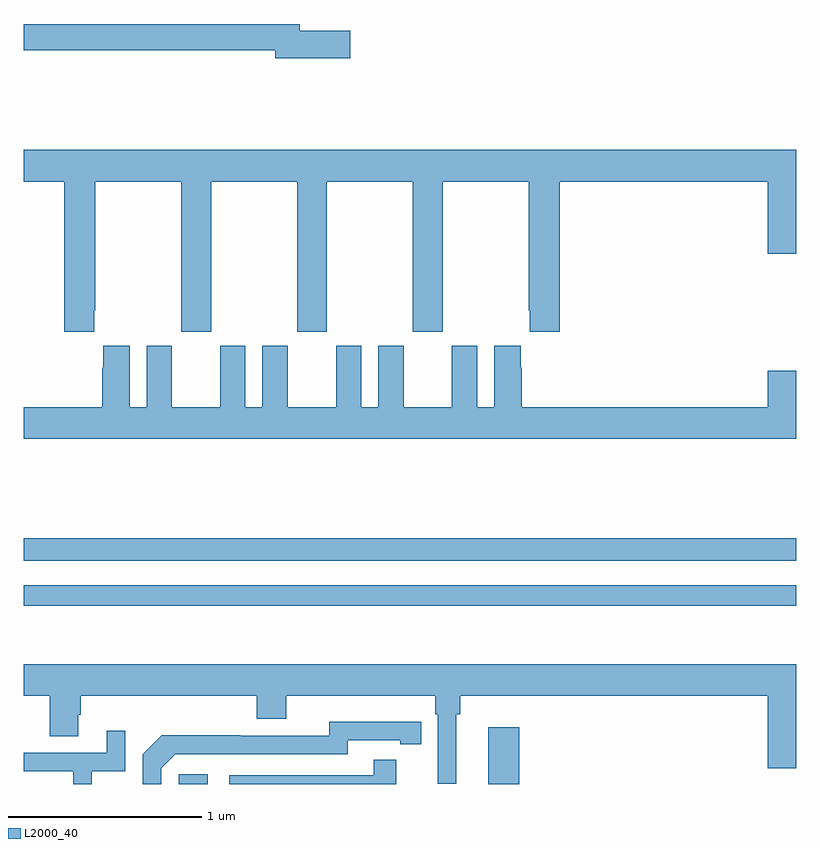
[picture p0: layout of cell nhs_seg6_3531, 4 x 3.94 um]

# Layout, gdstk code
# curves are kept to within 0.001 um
import gdstk
lib = gdstk.Library(unit=1e-6, precision=1e-09)
def R(c, l, rs):  # rectangles x0, y0, x1, y1
    for r in rs: c.add(gdstk.rectangle(r[:2], r[2:], *l))
def P(c, l, *ps):  # polygons
    for p in ps: c.add(gdstk.Polygon(p, *l))
L2000_40 = (2000, 40)

nhs_seg6_3531 = lib.new_cell('nhs_seg6_3531')
R(nhs_seg6_3531, L2000_40, [(317.802,993.5,317.953,993.55), (319.406,993.5,319.565,993.793), (317,994.422,321,994.53), (317,994.656,321,994.772)])
P(nhs_seg6_3531, L2000_40, [(318.691,997.4),(318.43,997.4),(318.43,997.436),(317,997.436),(317,997.3),(318.302,997.3),(318.302,997.258),(318.691,997.258)],
  [(317.365,995.953),(317.37,995.953),(317.37,996.62),(317.815,996.62),(317.815,995.841),(317.97,995.841),(317.97,996.62),(318.415,996.62),(318.415,995.841),(318.57,995.841),(318.57,996.62),(319.015,996.62),(319.015,995.841),(319.17,995.841),(319.17,996.62),(319.615,996.62),(319.615,995.953),(319.619,995.953),(319.619,995.841),(319.775,995.841),(319.775,996.62),(320.852,996.62),(320.852,996.246),(321,996.246),(321,996.784),(317,996.784),(317,996.62),(317.21,996.62),(317.21,995.841),(317.365,995.841)],
  [(321,995.641),(320.852,995.641),(320.852,995.452),(319.58,995.452),(319.58,995.657),(319.573,995.657),(319.573,995.77),(319.436,995.77),(319.436,995.452),(319.348,995.452),(319.348,995.77),(319.217,995.77),(319.217,995.452),(318.967,995.452),(318.967,995.77),(318.836,995.77),(318.836,995.452),(318.748,995.452),(318.748,995.77),(318.617,995.77),(318.617,995.452),(318.367,995.452),(318.367,995.77),(318.236,995.77),(318.236,995.452),(318.148,995.452),(318.148,995.77),(318.017,995.77),(318.017,995.452),(317.767,995.452),(317.767,995.77),(317.636,995.77),(317.636,995.452),(317.548,995.452),(317.548,995.77),(317.411,995.77),(317.411,995.657),(317.405,995.657),(317.405,995.452),(317,995.452),(317,995.288),(321,995.288)],
  [(319.24,993.86),(319.259,993.86),(319.259,993.956),(320.852,993.956),(320.852,993.582),(321,993.582),(321,994.12),(317,994.12),(317,993.956),(317.134,993.956),(317.134,993.748),(317.281,993.748),(317.281,993.858),(317.294,993.858),(317.294,993.956),(318.206,993.956),(318.206,993.839),(318.358,993.839),(318.358,993.956),(319.13,993.956),(319.13,993.86),(319.143,993.86),(319.143,993.501),(319.24,993.501)],
  [(317.712,993.582),(317.784,993.654),(318.678,993.654),(318.678,993.726),(318.95,993.726),(318.95,993.706),(319.058,993.706),(319.058,993.822),(318.582,993.823),(318.582,993.75),(318.122,993.75),(318.122,993.752),(317.714,993.752),(317.616,993.654),(317.616,993.5),(317.712,993.5)],
  [(317.352,993.567),(317.526,993.567),(317.526,993.775),(317.429,993.775),(317.429,993.663),(317,993.663),(317,993.567),(317.256,993.567),(317.256,993.5),(317.352,993.5)],
  [(318.929,993.625),(318.811,993.625),(318.811,993.546),(318.063,993.546),(318.063,993.5),(318.929,993.5)])

lib.write_gds('nhs_seg6_3531.gds')
